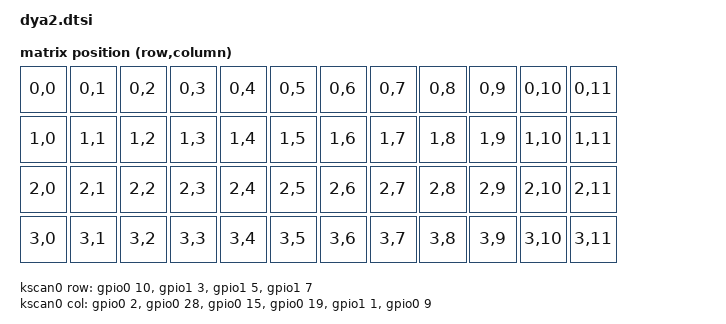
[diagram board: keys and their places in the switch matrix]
#include <dt-bindings/zmk/matrix_transform.h>
#include "dya2-layouts.dtsi"

/ {
    chosen {
        zmk,kscan = &kscan0;
        zmk,physical-layout = &dya2_physical_layout;
    };

    default_transform: keymap_transform_0 {
        compatible = "zmk,matrix-transform";
        columns = <12>;
        rows = <4>;
        map = <
            RC(0,0) RC(0,1) RC(0,2) RC(0,3) RC(0,4) RC(0,5)  RC(0,6) RC(0,7) RC(0,8) RC(0,9) RC(0,10) RC(0,11)
            RC(1,0) RC(1,1) RC(1,2) RC(1,3) RC(1,4) RC(1,5)  RC(1,6) RC(1,7) RC(1,8) RC(1,9) RC(1,10) RC(1,11)
            RC(2,0) RC(2,1) RC(2,2) RC(2,3) RC(2,4) RC(2,5)  RC(2,6) RC(2,7) RC(2,8) RC(2,9) RC(2,10) RC(2,11)
            RC(3,0) RC(3,1) RC(3,2) RC(3,3) RC(3,4) RC(3,5)  RC(3,6) RC(3,7) RC(3,8) RC(3,9) RC(3,10) RC(3,11)
        >;
    };

    kscan0: kscan {
        compatible = "zmk,kscan-gpio-matrix";
        wakeup-source;
        diode-direction = "col2row";

        col-gpios
            = <&gpio0  2 GPIO_ACTIVE_HIGH>                       /* C1 D0  */
            , <&gpio0 28 GPIO_ACTIVE_HIGH>                       /* C2 D2  */
            , <&gpio0 15 GPIO_ACTIVE_HIGH>                       /* C3 D11 */
            , <&gpio0 19 GPIO_ACTIVE_HIGH>                       /* C4 D12 */
            , <&gpio1  1 GPIO_ACTIVE_HIGH>                       /* C5 D13 */
            , <&gpio0  9 GPIO_ACTIVE_HIGH>                       /* C6 D14 */
            ;

        row-gpios
            = <&gpio0 10 (GPIO_ACTIVE_HIGH | GPIO_PULL_DOWN)>    /* R1 D15 */
            , <&gpio1  3 (GPIO_ACTIVE_HIGH | GPIO_PULL_DOWN)>    /* R2 D17 */
            , <&gpio1  5 (GPIO_ACTIVE_HIGH | GPIO_PULL_DOWN)>    /* R3 D18 */
            , <&gpio1  7 (GPIO_ACTIVE_HIGH | GPIO_PULL_DOWN)>    /* R4 D19 */
            ;
    };

    split_inputs {
        #address-cells = <1>;
        #size-cells = <0>;

        trackball_split: trackball_split@1 {
            compatible = "zmk,input-split";
            reg = <1>;
        };
    };

    trackball_listener: trackball_listener {
        compatible = "zmk,input-listener";
        status = "disabled";
        device = <&trackball_split>;
    };
};

&uicr {
    nfct-pins-as-gpios;
};
